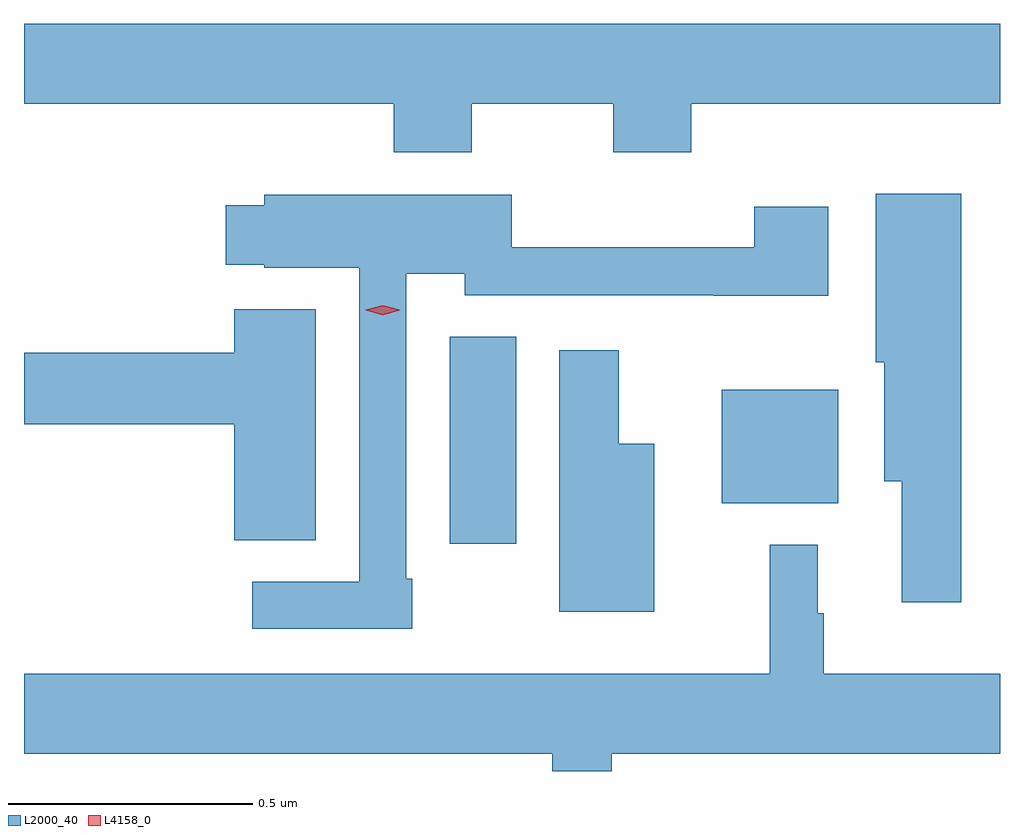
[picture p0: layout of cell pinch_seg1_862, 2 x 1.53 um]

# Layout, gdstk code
import gdstk
lib = gdstk.Library(unit=1e-6, precision=1e-09)
def R(c, l, rs):  # rectangles x0, y0, x1, y1
    for r in rs: c.add(gdstk.rectangle(r[:2], r[2:], *l))
def P(c, l, *ps):  # polygons
    for p in ps: c.add(gdstk.Polygon(p, *l))
L2000_40 = (2000, 40)
L4158_0 = (4158, 0)

pinch_seg1_862 = lib.new_cell('pinch_seg1_862')
R(pinch_seg1_862, L2000_40, [(463.061,573.474,463.198,573.899), (463.619,573.557,463.858,573.79)])
P(pinch_seg1_862, L2000_40, [(463.107,574.376),(463.396,574.376),(463.396,574.277),(463.556,574.277),(463.556,574.376),(464.189,574.376),(464.189,574.54),(462.189,574.54),(462.189,574.376),(462.947,574.376),(462.947,574.277),(463.107,574.277)],
  [(464.11,574.192),(463.934,574.192),(463.934,573.846),(463.952,573.846),(463.952,573.602),(463.988,573.602),(463.988,573.354),(464.11,573.354)],
  [(462.985,573.403),(462.972,573.403),(462.972,574.028),(463.092,574.028),(463.092,573.984),(463.601,573.984),(463.601,573.983),(463.837,573.983),(463.837,574.165),(463.685,574.165),(463.685,574.082),(463.188,574.082),(463.188,574.189),(462.681,574.189),(462.681,574.168),(462.602,574.168),(462.602,574.046),(462.681,574.046),(462.681,574.04),(462.876,574.04),(462.876,573.396),(462.657,573.396),(462.657,573.3),(462.985,573.3)],
  [(462.787,573.955),(462.62,573.955),(462.62,573.866),(462.189,573.866),(462.189,573.719),(462.62,573.719),(462.62,573.481),(462.787,573.481)],
  [(463.48,573.679),(463.408,573.679),(463.408,573.871),(463.286,573.871),(463.286,573.335),(463.48,573.335)],
  [(463.393,573.044),(464.189,573.044),(464.189,573.208),(463.828,573.208),(463.828,573.332),(463.816,573.332),(463.816,573.472),(463.717,573.472),(463.717,573.208),(462.189,573.208),(462.189,573.044),(463.271,573.044),(463.271,573.008),(463.393,573.008)])
P(pinch_seg1_862, L4158_0, [(462.924,573.943),(462.889,573.953),(462.889,573.953),(462.889,573.954),(462.924,573.963),(462.959,573.954),(462.959,573.953),(462.959,573.953)])

lib.write_gds('pinch_seg1_862.gds')
